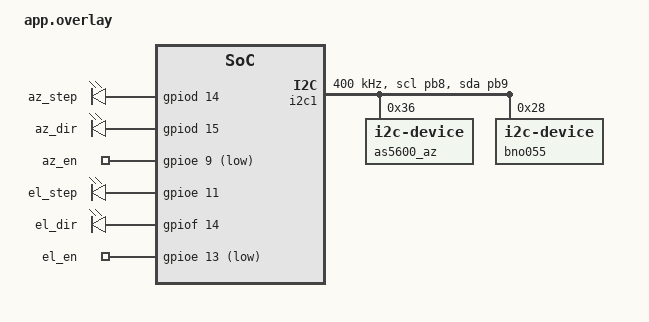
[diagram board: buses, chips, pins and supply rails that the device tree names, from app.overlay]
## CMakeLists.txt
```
cmake_minimum_required(VERSION 3.20.0)

find_package(Zephyr REQUIRED HINTS $ENV{ZEPHYR_BASE})
project(antenna_tracker_firmware)

target_sources(app PRIVATE src/main.c src/stubs.c)
```

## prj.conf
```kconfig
CONFIG_MICROROS=y
CONFIG_CPP=y
CONFIG_STD_CPP17=y
CONFIG_NEWLIB_LIBC=y
CONFIG_NEWLIB_LIBC_NANO=y
CONFIG_ENTROPY_GENERATOR=y
CONFIG_TEST_RANDOM_GENERATOR=y
CONFIG_MAIN_STACK_SIZE=25000
CONFIG_MAIN_THREAD_PRIORITY=3


CONFIG_COMMON_LIBC_MALLOC=y
CONFIG_COMMON_LIBC_MALLOC_ARENA_SIZE=65536
CONFIG_PTHREAD_IPC=n
CONFIG_POSIX_API=y
CONFIG_POSIX_CLOCK=y
CONFIG_STDOUT_CONSOLE=y
CONFIG_LOG=y

CONFIG_SERIAL=y
CONFIG_UART_INTERRUPT_DRIVEN=y
CONFIG_CONSOLE=y
CONFIG_UART_CONSOLE=y

CONFIG_I2C=y
CONFIG_GPIO=y
```

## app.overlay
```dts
/ {
    zephyr,user {
        microros_serial_uart = &usart3;
    };

    stepper_motors {
        compatible = "gpio-leds"; /* Using generic GPIO output */
        az_step: az_step {
            gpios = <&gpiod 14 GPIO_ACTIVE_HIGH>; /* D11 */
        };
        az_dir: az_dir {
            gpios = <&gpiod 15 GPIO_ACTIVE_HIGH>; /* D10 */
        };
        az_en: az_en {
            gpios = <&gpioe 9 GPIO_ACTIVE_LOW>;   /* D6 */
        };

        el_step: el_step {
            gpios = <&gpioe 11 GPIO_ACTIVE_HIGH>; /* D5 */
        };
        el_dir: el_dir {
            gpios = <&gpiof 14 GPIO_ACTIVE_HIGH>; /* D4 */
        };
        el_en: el_en {
            gpios = <&gpioe 13 GPIO_ACTIVE_LOW>;  /* D3 */
        };
    };
};

&i2c1 {
    status = "okay";
    pinctrl-0 = <&i2c1_scl_pb8 &i2c1_sda_pb9>;
    pinctrl-names = "default";
    clock-frequency = <I2C_BITRATE_FAST>;

    /* Minimal definitions to lock the I2C bus address if needed, or we just access it raw from code */
    as5600_az: as5600@36 {
        compatible = "i2c-device";
        reg = <0x36>;
    };

    bno055: bno055@28 {
        compatible = "i2c-device";
        reg = <0x28>;
    };
};
```

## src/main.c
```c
#include <zephyr/kernel.h>
#include <zephyr/device.h>
#include <zephyr/devicetree.h>
#include <zephyr/drivers/gpio.h>
#include <zephyr/drivers/i2c.h>

#include <rcl/rcl.h>
#include <rcl/error_handling.h>
#include <rclc/rclc.h>
#include <rclc/executor.h>
#include <rmw_microxrcedds_c/config.h>
#include <rmw_microros/rmw_microros.h>

#include <antenna_tracker_msgs/msg/motor_command.h>
#include <antenna_tracker_msgs/msg/encoder_feedback.h>
#include <sensor_msgs/msg/imu.h>

#define RCCHECK(fn) { rcl_ret_t temp_rc = fn; if((temp_rc != RCL_RET_OK)){printk("Failed status on line %d: %d. Aborting.\n",__LINE__,(int)temp_rc); return 1;}}
#define RCSOFTCHECK(fn) { rcl_ret_t temp_rc = fn; if((temp_rc != RCL_RET_OK)){printk("Failed status on line %d: %d. Continuing.\n",__LINE__,(int)temp_rc);}}

extern bool zephyr_transport_open(struct uxrCustomTransport * transport);
extern bool zephyr_transport_close(struct uxrCustomTransport * transport);
extern size_t zephyr_transport_write(struct uxrCustomTransport* transport, const uint8_t * buf, size_t len, uint8_t * err);
extern size_t zephyr_transport_read(struct uxrCustomTransport* transport, uint8_t* buf, size_t len, int timeout, uint8_t* err);

rcl_publisher_t encoder_pub;
rcl_publisher_t imu_pub;
rcl_subscription_t motor_sub;

antenna_tracker_msgs__msg__EncoderFeedback encoder_msg;
sensor_msgs__msg__Imu imu_msg;
antenna_tracker_msgs__msg__MotorCommand motor_msg;

/* Hardware Peripherals */
static const struct gpio_dt_spec az_step = GPIO_DT_SPEC_GET(DT_NODELABEL(az_step), gpios);
static const struct gpio_dt_spec az_dir  = GPIO_DT_SPEC_GET(DT_NODELABEL(az_dir), gpios);
static const struct gpio_dt_spec az_en   = GPIO_DT_SPEC_GET(DT_NODELABEL(az_en), gpios);

static const struct gpio_dt_spec el_step = GPIO_DT_SPEC_GET(DT_NODELABEL(el_step), gpios);
static const struct gpio_dt_spec el_dir  = GPIO_DT_SPEC_GET(DT_NODELABEL(el_dir), gpios);
static const struct gpio_dt_spec el_en   = GPIO_DT_SPEC_GET(DT_NODELABEL(el_en), gpios);

const struct device *i2c_dev = DEVICE_DT_GET(DT_NODELABEL(i2c1));

#define AS5600_AZ_ADDR 0x36
#define BNO055_ADDR 0x28

/* Global Motor Tracking Variables */
float current_az_freq = 0.0;
float current_el_freq = 0.0;

void motor_cmd_callback(const void * msgin)
{
	const antenna_tracker_msgs__msg__MotorCommand * msg = (const antenna_tracker_msgs__msg__MotorCommand *)msgin;
    
    if (msg->emergency_stop) {
        gpio_pin_set_dt(&az_en, 0); // Disable motor (Assuming Active Low)
        gpio_pin_set_dt(&el_en, 0);
        current_az_freq = 0.0;
        current_el_freq = 0.0;
        return;
    }

    gpio_pin_set_dt(&az_en, 1);
    gpio_pin_set_dt(&el_en, 1);

    gpio_pin_set_dt(&az_dir, msg->az_direction ? 1 : 0);
    gpio_pin_set_dt(&el_dir, msg->el_direction ? 1 : 0);

    current_az_freq = msg->az_frequency_hz;
    current_el_freq = msg->el_frequency_hz;
}

/* K_Timer for Stepper motor stepping (~10kHz logic) */
void stepper_timer_isr(struct k_timer *dummy) {
    static float az_accum = 0.0;
    static float el_accum = 0.0;
    float dt = 0.0001; // 100 us
    
    az_accum += current_az_freq * dt;
    if (az_accum >= 1.0) {
        gpio_pin_toggle_dt(&az_step);
        az_accum -= 1.0;
    }

    el_accum += current_el_freq * dt;
    if (el_accum >= 1.0) {
        gpio_pin_toggle_dt(&el_step);
        el_accum -= 1.0;
    }
}
K_TIMER_DEFINE(stepper_timer, stepper_timer_isr, NULL);

/* Sensor read functions */
float read_as5600_angle(uint8_t addr) {
    if (!device_is_ready(i2c_dev)) return 0.0;
    uint8_t reg = 0x0E; // RAW ANGLE register in AS5600
    uint8_t buf[2] = {0};
    if (i2c_write_read(i2c_dev, addr, &reg, 1, buf, 2) == 0) {
        uint16_t raw_angle = (buf[0] << 8) | buf[1];
        return ((float)raw_angle / 4096.0f) * 360.0f;
    }
    return 0.0;
}

void read_bno055_imu(sensor_msgs__msg__Imu *msg) {
    if (!device_is_ready(i2c_dev)) return;
    // Real implementation requires BNO055 standard registers implementation
    msg->linear_acceleration.x = 0.0;
    msg->angular_velocity.x = 0.0;
}

void timer_callback(rcl_timer_t * timer, int64_t last_call_time)
{
	(void) last_call_time;
	if (timer != NULL) {
        // Read AS5600 Encoders
        encoder_msg.az_angle_deg = read_as5600_angle(AS5600_AZ_ADDR); 
        encoder_msg.el_angle_deg = 0.0; 
        encoder_msg.az_valid = true;
        encoder_msg.el_valid = false;
		RCSOFTCHECK(rcl_publish(&encoder_pub, &encoder_msg, NULL));

        // Read IMU
        imu_msg.header.stamp.sec = k_uptime_get() / 1000;
        read_bno055_imu(&imu_msg);
		RCSOFTCHECK(rcl_publish(&imu_pub, &imu_msg, NULL));
	}
}

static void init_hardware() {
    gpio_pin_configure_dt(&az_step, GPIO_OUTPUT_INACTIVE);
    gpio_pin_configure_dt(&az_dir, GPIO_OUTPUT_INACTIVE);
    gpio_pin_configure_dt(&az_en, GPIO_OUTPUT_INACTIVE);

    gpio_pin_configure_dt(&el_step, GPIO_OUTPUT_INACTIVE);
    gpio_pin_configure_dt(&el_dir, GPIO_OUTPUT_INACTIVE);
    gpio_pin_configure_dt(&el_en, GPIO_OUTPUT_INACTIVE);

    k_timer_start(&stepper_timer, K_USEC(100), K_USEC(100)); // 10kHz timer
}

int main(void)
{
	printk("Starting Micro-ROS Antenna Tracker Firmware with Hardware Interface...\n");
    init_hardware();

	rmw_uros_set_custom_transport(
		true,
		NULL,
		zephyr_transport_open,
		zephyr_transport_close,
		zephyr_transport_write,
		zephyr_transport_read
	);

	rcl_allocator_t allocator = rcl_get_default_allocator();
	rclc_support_t support;

	while(rmw_uros_ping_agent(1000, 1) != RMW_RET_OK) {
		k_msleep(1000);
	}

	RCCHECK(rclc_support_init(&support, 0, NULL, &allocator));

	rcl_node_t node;
	RCCHECK(rclc_node_init_default(&node, "tracker_firmware", "", &support));

	RCCHECK(rclc_publisher_init_default(
		&encoder_pub,
		&node,
		ROSIDL_GET_MSG_TYPE_SUPPORT(antenna_tracker_msgs, msg, EncoderFeedback),
		"/antenna/encoder_feedback"));

	RCCHECK(rclc_publisher_init_default(
		&imu_pub,
		&node,
		ROSIDL_GET_MSG_TYPE_SUPPORT(sensor_msgs, msg, Imu),
		"/imu/raw"));

	RCCHECK(rclc_subscription_init_default(
		&motor_sub,
		&node,
		ROSIDL_GET_MSG_TYPE_SUPPORT(antenna_tracker_msgs, msg, MotorCommand),
		"/antenna/motor_cmd"));

	rcl_timer_t timer;
	RCCHECK(rclc_timer_init_default2(
		&timer,
		&support,
		RCL_MS_TO_NS(10), // 100Hz
		timer_callback,
        true));

	rclc_executor_t executor;
	RCCHECK(rclc_executor_init(&executor, &support.context, 2, &allocator));
	RCCHECK(rclc_executor_add_subscription(&executor, &motor_sub, &motor_msg, &motor_cmd_callback, ON_NEW_DATA));
	RCCHECK(rclc_executor_add_timer(&executor, &timer));

	while (1) {
		rclc_executor_spin_some(&executor, RCL_MS_TO_NS(10));
		k_usleep(1000);
	}

	return 0;
}
```

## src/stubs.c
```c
#include <zephyr/kernel.h>
#include <zephyr/random/random.h>
#include <zephyr/sys/printk.h>
#include <stdio.h>
#include <stdlib.h>
#include <stdarg.h>

void exit(int status) {
    printk("exit() called with status %d\n", status);
    while (1) {
        k_sleep(K_FOREVER);
    }
}

int __aeabi_f2iz(float x) {
    return (int)x;
}

int rand(void) {
    return (int)sys_rand32_get();
}

void srand(unsigned int seed) {
    (void)seed;
}

unsigned long strtoul(const char *nptr, char **endptr, int base) {
    (void)nptr; (void)endptr; (void)base;
    return 0;
}

size_t fwrite(const void *ptr, size_t size, size_t nmemb, FILE *stream) {
    (void)stream;
    const char * cptr = (const char *)ptr;
    for (size_t i = 0; i < size * nmemb; i++) {
        printk("%c", cptr[i]);
    }
    return nmemb;
}

int vsnprintf(char *str, size_t size, const char *format, va_list ap) {
    return vsnprintk(str, size, format, ap);
}

int memcmp(const void *s1, const void *s2, size_t n) {
    const unsigned char *p1 = s1, *p2 = s2;
    while(n--) {
        if (*p1 != *p2) return *p1 - *p2;
        p1++; p2++;
    }
    return 0;
}

char *strstr(const char *haystack, const char *needle) {
    if (!*needle) return (char *)haystack;
    const char *p1, *p2;
    while (*haystack) {
        p1 = haystack; p2 = needle;
        while (*p1 && *p2 && *p1 == *p2) { p1++; p2++; }
        if (!*p2) return (char *)haystack;
        haystack++;
    }
    return NULL;
}
```
